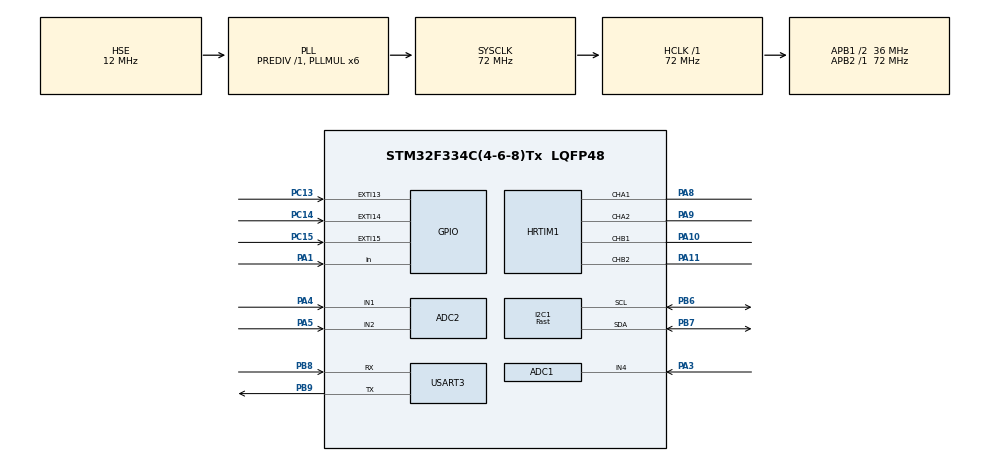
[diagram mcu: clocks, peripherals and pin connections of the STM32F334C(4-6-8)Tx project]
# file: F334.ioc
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ADC1.Channel-2\#ChannelRegularConversion=ADC_CHANNEL_TEMPSENSOR
ADC1.EnableRegularConversion=ENABLE
ADC1.ExternalTrigConv=ADC_SOFTWARE_START
ADC1.ExternalTrigConvEdge=ADC_EXTERNALTRIGCONVEDGE_RISINGFALLING
ADC1.ExternalTrigInjecConv=ADC_EXTERNALTRIGINJECCONV_HRTIM_TRG4
ADC1.ExternalTrigInjecConvEdge=ADC_EXTERNALTRIGINJECCONV_EDGE_RISING
ADC1.InjNumberOfConversion=1
ADC1.InjectedChannel-1\#ChannelInjectedConversion=ADC_CHANNEL_4
ADC1.InjectedSamplingTime-1\#ChannelInjectedConversion=ADC_SAMPLETIME_7CYCLES_5
ADC1.NbrOfConversionFlag=1
ADC1.Offset-2\#ChannelRegularConversion=0
ADC1.OffsetNumber-2\#ChannelRegularConversion=ADC_OFFSET_NONE
ADC1.Rank-2\#ChannelRegularConversion=1
ADC1.SamplingTime-2\#ChannelRegularConversion=ADC_SAMPLETIME_4CYCLES_5
ADC1.master=1
ADC2.EnableRegularConversion=DISABLE
ADC2.ExternalTrigInjecConv=ADC_EXTERNALTRIGINJECCONV_HRTIM_TRG2
ADC2.ExternalTrigInjecConvEdge=ADC_EXTERNALTRIGINJECCONV_EDGE_RISING
ADC2.InjNumberOfConversion=2
ADC2.InjectedChannel-6\#ChannelInjectedConversion=ADC_CHANNEL_2
ADC2.InjectedRank-6\#ChannelInjectedConversion=2
ADC2.InjectedSamplingTime-5\#ChannelInjectedConversion=ADC_SAMPLETIME_7CYCLES_5
ADC2.InjectedSamplingTime-6\#ChannelInjectedConversion=ADC_SAMPLETIME_7CYCLES_5
ADC2.SubFamily=STM32F334x8
HRTIM1.ADCTrigger2_Source1=HRTIM_ADCTRIGGEREVENT24_TIMERA_CMP2
HRTIM1.ADCTrigger4_Source1=HRTIM_ADCTRIGGEREVENT24_TIMERA_CMP4
HRTIM1.ADCTrigger_Id2=HRTIM_ADCTRIGGER_2
HRTIM1.ADCTrigger_Id4=HRTIM_ADCTRIGGER_4
HRTIM1.CompareUnit1-Output_TA1TA2=HRTIM_COMPAREUNIT_1
HRTIM1.CompareUnit1-Output_TB1TB2=HRTIM_COMPAREUNIT_1
HRTIM1.CompareUnit2-Output_TA1TA2=HRTIM_COMPAREUNIT_2
HRTIM1.CompareUnit2-Output_TB1TB2=HRTIM_COMPAREUNIT_2
HRTIM1.CompareUnit4-Output_TA1TA2=HRTIM_COMPAREUNIT_4
HRTIM1.CompareValue1-Output_TA1TA2=10000
HRTIM1.CompareValue1-Output_TB1TB2=30000
HRTIM1.CompareValue2-Output_TA1TA2=20000
HRTIM1.CompareValue2-Output_TB1TB2=15000
HRTIM1.CompareValue4-Output_TA1TA2=20000
HRTIM1.DeadTimeInsertion-Output_TA1TA2=HRTIM_TIMDEADTIMEINSERTION_ENABLED
HRTIM1.Deadtimeconfig-Output_TB1TB2=HRTIM_TIMERINDEX_TIMER_B
HRTIM1.FallingValue-Output_TA1TA2=35
HRTIM1.FallingValue-Output_TB1TB2=100
HRTIM1.InterruptRequests1-Output_TA1TA2=HRTIM_TIM_IT_REP
HRTIM1.InterruptRequests1_Master=HRTIM_MASTER_IT_MREP
HRTIM1.NumberADCTriggerSource2=1
HRTIM1.NumberADCTriggerSource4=1
HRTIM1.NumberInterruptRequests-Output_TA1TA2=1
HRTIM1.NumberInterruptRequests_Master=0
HRTIM1.NumberResetSource1-Output_TA1TA2=1
HRTIM1.NumberResetSource1-Output_TB1TB2=1
HRTIM1.NumberResetTrigger-Output_TA1TA2=1
HRTIM1.NumberSetSource1-Output_TA1TA2=1
HRTIM1.NumberSetSource1-Output_TB1TB2=1
HRTIM1.ORingUpdateSource_ADCTrigger2=HRTIM_ADCTRIGGERUPDATE_TIMER_A
HRTIM1.ORingUpdateSource_ADCTrigger4=HRTIM_ADCTRIGGERUPDATE_TIMER_A
HRTIM1.Periode_MASTER=46000
HRTIM1.Periode_TA=46000
HRTIM1.Periode_TB=46000
HRTIM1.Polarity2-Output_TA1TA2=HRTIM_OUTPUTPOLARITY_HIGH
HRTIM1.PreloadEnable-MasterTimer=HRTIM_PRELOAD_DISABLED
HRTIM1.PrescalerRatio_MASTER=HRTIM_PRESCALERRATIO_MUL16
HRTIM1.PrescalerRatio_TA=HRTIM_PRESCALERRATIO_MUL16
HRTIM1.PrescalerRatio_TB=HRTIM_PRESCALERRATIO_MUL16
HRTIM1.RepetitionCounter-Output_TA1TA2=0
HRTIM1.ResetOutput1_Source1-Output_TA1TA2=HRTIM_OUTPUTRESET_TIMCMP1
HRTIM1.ResetOutput1_Source1-Output_TB1TB2=HRTIM_OUTPUTRESET_TIMCMP1
HRTIM1.ResetTrigger1-Output_TA1TA2=HRTIM_TIMRESETTRIGGER_MASTER_PER
HRTIM1.RisingValue-Output_TA1TA2=25
HRTIM1.RisingValue-Output_TB1TB2=100
HRTIM1.SetOutput1_Source1-Output_TA1TA2=HRTIM_OUTPUTSET_TIMPER
HRTIM1.SetOutput1_Source1-Output_TB1TB2=HRTIM_OUTPUTSET_TIMPER
HRTIM1.Timeout=100
I2C1.I2C_Fall_Time=10
I2C1.I2C_Rise_Time=10
I2C1.I2C_Speed_Mode=I2C_Fast
I2C1.Timing=0x0000020B
Mcu.Family=STM32F3
Mcu.Name=STM32F334C(4-6-8)Tx
Mcu.Package=LQFP48
NVIC.ADC1_2_IRQn=true\:1\:0\:true
NVIC.EXTI15_10_IRQn=true\:2\:0\:true
NVIC.HRTIM1_TIMA_IRQn=true\:0\:0\:false
NVIC.PriorityGroup=NVIC_PRIORITYGROUP_4
NVIC.USART3_IRQn=true\:0\:0\:false
PA1.Signal=GPIO_Input
PA10.Mode=Output_TB1TB2
PA10.Signal=HRTIM1_CHB1
PA11.Mode=Output_TB1TB2
PA11.Signal=HRTIM1_CHB2
PA13.Mode=Serial-Wire
PA13.Signal=SYS_JTMS-SWDIO
PA14.Mode=Serial-Wire
PA14.Signal=SYS_JTCK-SWCLK
PA3.Mode=IN4-Single-Ended
PA3.Signal=ADC1_IN4
PA4.Mode=IN1-Single-Ended
PA4.Signal=ADC2_IN1
PA5.Mode=IN2-Single-Ended
PA5.Signal=ADC2_IN2
PA8.Mode=Output_TA1TA2
PA8.Signal=HRTIM1_CHA1
PA9.Mode=Output_TA1TA2
PA9.Signal=HRTIM1_CHA2
PB6.Mode=I2C
PB6.Signal=I2C1_SCL
PB7.Mode=I2C
PB7.Signal=I2C1_SDA
PB8.Mode=Asynchronous
PB8.Signal=USART3_RX
PB9.Mode=Asynchronous
PB9.Signal=USART3_TX
PC13.GPIO_ModeDefaultEXTI=GPIO_MODE_IT_FALLING
PC13.GPIO_PuPd=GPIO_PULLUP
PC13.Signal=GPXTI13
PC14\ /\ OSC32_IN.GPIO_ModeDefaultEXTI=GPIO_MODE_IT_FALLING
PC14\ /\ OSC32_IN.GPIO_PuPd=GPIO_PULLUP
PC14\ /\ OSC32_IN.Signal=GPXTI14
PC15\ /\ OSC32_OUT.GPIO_ModeDefaultEXTI=GPIO_MODE_IT_FALLING
PC15\ /\ OSC32_OUT.GPIO_PuPd=GPIO_PULLUP
PC15\ /\ OSC32_OUT.Signal=GPXTI15
PF0\ /\ OSC_IN.Mode=HSE-External-Oscillator
PF0\ /\ OSC_IN.Signal=RCC_OSC_IN
PF1\ /\ OSC_OUT.Mode=HSE-External-Oscillator
PF1\ /\ OSC_OUT.Signal=RCC_OSC_OUT
ProjectManager.TargetToolchain=MDK-ARM V5
RCC.AHBFreq_Value=72000000
RCC.APB1CLKDivider=RCC_HCLK_DIV2
RCC.APB1Freq_Value=36000000
RCC.APB1TimFreq_Value=72000000
RCC.APB2Freq_Value=72000000
RCC.APB2TimFreq_Value=72000000
RCC.CortexFreq_Value=72000000
RCC.HCLKFreq_Value=72000000
RCC.HRTIMSelection=RCC_HRTIM1CLK_PLLCLK
RCC.HSE_VALUE=12000000
RCC.HSI_VALUE=8000000
RCC.LSE_VALUE=32768
RCC.PLLMUL=RCC_PLL_MUL6
RCC.PLLSourceVirtual=RCC_PLLSOURCE_HSE
RCC.SYSCLKFreq_VALUE=72000000
RCC.SYSCLKSourceVirtual=RCC_SYSCLKSOURCE_PLLCLK
USART3.WordLength=UART_WORDLENGTH_8B
VP_ADC1_TempSens_Input.Mode=IN-TempSens
VP_HRTIM1_VS_hrtimMasterTimerNoOutput.Mode=MasterTimer
board=F334

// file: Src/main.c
/**
  ******************************************************************************
  * File Name          : main.c
  * Description        : Main program body
  ******************************************************************************
  *
  * COPYRIGHT(c) 2015 STMicroelectronics
  *
  * Redistribution and use in source and binary forms, with or without modification,
  * are permitted provided that the following conditions are met:
  *   1. Redistributions of source code must retain the above copyright notice,
  *      this list of conditions and the following disclaimer.
  *   2. Redistributions in binary form must reproduce the above copyright notice,
  *      this list of conditions and the following disclaimer in the documentation
  *      and/or other materials provided with the distribution.
  *   3. Neither the name of STMicroelectronics nor the names of its contributors
  *      may be used to endorse or promote products derived from this software
  *      without specific prior written permission.
  *
  * THIS SOFTWARE IS PROVIDED BY THE COPYRIGHT HOLDERS AND CONTRIBUTORS "AS IS"
  * AND ANY EXPRESS OR IMPLIED WARRANTIES, INCLUDING, BUT NOT LIMITED TO, THE
  * IMPLIED WARRANTIES OF MERCHANTABILITY AND FITNESS FOR A PARTICULAR PURPOSE ARE
  * DISCLAIMED. IN NO EVENT SHALL THE COPYRIGHT HOLDER OR CONTRIBUTORS BE LIABLE
  * FOR ANY DIRECT, INDIRECT, INCIDENTAL, SPECIAL, EXEMPLARY, OR CONSEQUENTIAL
  * DAMAGES (INCLUDING, BUT NOT LIMITED TO, PROCUREMENT OF SUBSTITUTE GOODS OR
  * SERVICES; LOSS OF USE, DATA, OR PROFITS; OR BUSINESS INTERRUPTION) HOWEVER
  * CAUSED AND ON ANY THEORY OF LIABILITY, WHETHER IN CONTRACT, STRICT LIABILITY,
  * OR TORT (INCLUDING NEGLIGENCE OR OTHERWISE) ARISING IN ANY WAY OUT OF THE USE
  * OF THIS SOFTWARE, EVEN IF ADVISED OF THE POSSIBILITY OF SUCH DAMAGE.
  *
  ******************************************************************************
  */
#include "stm32f3xx_hal.h"

/* USER CODE BEGIN Includes */
#include "oled.h"
#include "arm_math.h"
/* USER CODE END Includes */

ADC_HandleTypeDef hadc1;
ADC_HandleTypeDef hadc2;

HRTIM_HandleTypeDef hhrtim1;

I2C_HandleTypeDef hi2c1;

UART_HandleTypeDef huart3;

/* USER CODE BEGIN PV */
/* Private variables ---------------------------------------------------------*/

/* USER CODE END PV */

void SystemClock_Config(void);
static void MX_GPIO_Init(void);
static void MX_ADC1_Init(void);
static void MX_ADC2_Init(void);
static void MX_HRTIM1_Init(void);
static void MX_I2C1_Init(void);
static void MX_USART3_UART_Init(void);

/* USER CODE BEGIN PFP */
/* Private function prototypes -----------------------------------------------*/
//addr:98d3:31:205353
//98d3:31:20534e

#define BUCK_PWM_PERIOD ((uint16_t) 45600) /* 120kHz 63500*/
#define SAT_LIMIT ((int32_t)(BUCK_PWM_PERIOD * 50)/100) // PI Integral term saturation value
#define MIN_DUTY_A ((int32_t)(BUCK_PWM_PERIOD * 50)/100) // % MinDuty for Buck
#define MAX_DUTY_A ((int32_t)(BUCK_PWM_PERIOD * 100)/100) // % MaxDuty for Buck

#define MI 0
#define MV 1
#define Stop 2
#define MI1 3
//#define Izero 3101
//#define Vset 2318
 void Reset_PI(void);

 int32_t Kp;
 int32_t Ki;
 int32_t Kp1;
 int32_t Ki1;
//static int32_t Int_term_Buck,Int_term_BuckB;
static int32_t Int_term_I,Int_term_V;
extern int32_t VoutT,VFeed,IFeed,modepdis;
extern uint32_t V,V1,I,Vrms,Irms,IoutA,IoutB,I1,Iset,Iref,Izero,Vset,Vset1,I1A,Im1A,Im2A;
extern uint32_t CTMin;
extern uint32_t CTMax;
extern int temp1;
float VSENSE,Temp;
unsigned int cont=0;
unsigned int f=50;
float D=0,Ctemp=0,IC=0,Iavr=0,Vavr=0,Vavr1=0,Icharge=2000,power=0;//Icharge=(3613-3101)*50/2000;
extern  uint8_t Run;
extern unsigned int CurrentDutyA;
extern unsigned char pptr[],ptr0[],ptr[],ptr1[],ptr2[],ptrs[],fptr[],dptr[],modep[],mode;
unsigned char Iavrp[5];
unsigned char pptr[5]={0,0,0,0,'\0'};
unsigned char pcptr[5]={0,0,'.',0,'\0'};
unsigned char ptrk[6]={0,0,0,0,0,'\0'};
unsigned char powerptr[5]={0,0,0,0,'\0'};
extern uint8_t uartr,send;
extern uint32_t keynum;
extern float PC;
/* USER CODE END PFP */

int main(void)
{

  /* MCU Configuration----------------------------------------------------------*/

  /* Reset of all peripherals, Initializes the Flash interface and the Systick. */
  HAL_Init();

  /* Configure the system clock */
  SystemClock_Config();

  /* Initialize all configured peripherals */
  MX_GPIO_Init();
  MX_ADC1_Init();
  MX_ADC2_Init();
  MX_HRTIM1_Init();
  MX_I2C1_Init();
  MX_USART3_UART_Init();

  /* USER CODE BEGIN 2 */
	for(unsigned int i=0;i<2000;i++)
	{
		for(unsigned int j=0;j<800;j++);
	}
	OLED_Init(); 										//OLED初始化
	OLED_Fill(0x00);								//OLED清屏
//	HAL_HRTIM_WaveformOutputStart(&hhrtim1,HRTIM_OUTPUT_TA1 |HRTIM_OUTPUT_TA2);
//	HAL_HRTIM_WaveformCounterStart_IT(&hhrtim1, HRTIM_TIMERID_TIMER_A | HRTIM_TIMERID_MASTER);
	HAL_HRTIM_WaveformCounterStart_IT(&hhrtim1, HRTIM_TIMERID_TIMER_A | HRTIM_TIMERID_TIMER_B | HRTIM_TIMERID_MASTER);//启动定时
	HAL_HRTIM_WaveformOutputStart(&hhrtim1, HRTIM_OUTPUT_TB1 |HRTIM_OUTPUT_TB2 |HRTIM_OUTPUT_TA1 |HRTIM_OUTPUT_TA2);//启动PWM输出
    //HAL_HRTIM_WaveformCounterStart(&hhrtim1, HRTIM_TIMERID_TIMER_B);
	//HAL_GPIO_WritePin(GPIOB,GPIO_PIN_15, GPIO_PIN_RESET);

	OLED_P8x16Str(0,2,"T");
	OLED_P6x8Str(55,3,"C");
	OLED_P6x8Str(57,1,"mAh");
	OLED_P8x16Str(0,4,"U");
	OLED_P8x16Str(120,4,"V");
	OLED_P6x8Str(110,5,"P");
	OLED_P6x8Str(55,5,"B");
	OLED_P8x16Str(0,6,"I");
	OLED_P8x16Str(120,6,"A");
	OLED_P6x8Str(55,7,"S");
	OLED_P6x8Str(110,7,"R");
	Reset_PI();//PI初始化
	HAL_ADCEx_Calibration_Start(&hadc1,ADC_SINGLE_ENDED);//ADC1自校正
	HAL_ADCEx_Calibration_Start(&hadc2,ADC_SINGLE_ENDED);//ADC2自校正
	HAL_ADCEx_InjectedStart_IT(&hadc1);//启动ADC1
	HAL_ADCEx_InjectedStart_IT(&hadc2);//启动ADC2
	HAL_UART_Receive_IT(&huart3,&uartr,1);
  /* USER CODE END 2 */

  /* Infinite loop */
  /* USER CODE BEGIN WHILE */
  while (1)
  {
//	unsigned int i,j=30;
//	for(i=0;i<1000;i++)
//	{
//		for(j=0;j<800;j++);
//	}
		//HAL_UART_Transmit(&huart2,&uartr,1,100);
		HAL_ADC_Start(&hadc1);
		VSENSE=HAL_ADC_GetValue(&hadc1);
		Temp=(((1400 - VSENSE*3300/4096) / 46)*100 + 250);

		ptrk[0]=keynum/10000;
		temp1=keynum-(ptrk[0]*10000);
		ptrk[1]=temp1/1000;
		temp1=temp1-ptrk[1]*1000;
		ptrk[2]=temp1/100;
		temp1=temp1-ptrk[2]*100;
		ptrk[3]=temp1/10;
		temp1=temp1-ptrk[3]*10;
		ptrk[4]=temp1;
		ptrk[0]=ptrk[0]+48;
		ptrk[1]=ptrk[1]+48;
		ptrk[2]=ptrk[2]+48;
		ptrk[3]=ptrk[3]+48;
		ptrk[4]=ptrk[4]+48;
		OLED_P8x16Str(80,0,ptrk);

		if(Iavr<Izero){modep[0]='D';modep[1]='i';modep[2]='s';}//modep[3]='c';modep[4]='h';
			//modep[5]='a';modep[6]='r';modep[7]='g';modep[8]='e';}
		else {modep[0]='C';modep[1]='h';modep[2]='a';}//modep[6]='i';modep[7]='n';modep[8]='g';modep[3]='r';modep[4]='g';modep[5]='e';}
		if(mode==Stop){modep[0]='S';modep[1]='t';modep[2]='o';}//modep[4]='d';
			//modep[5]='b';modep[6]='y';modep[7]=' ';modep[8]=' ';}
		OLED_P8x16Str(0,0,modep);

		if(Iavr>2000)IC=(((float)Iavr)-I1A)*1000/(Iref-I1A)+1000;
		else IC=(((float)Iavr)-Im2A)*800/(Im1A-Im2A)-2300;

		if(IC>9999)IC=0;
		dispI(70,6,fabs(IC),ptr0);

		Ctemp=Vavr*3000/Vset1;
		disp5(15,4,Ctemp,ptr1,"Vavr\n");
		if(mode==MV||mode==MI1)power=(Ctemp+IC/16-1500)/600*100;
		else if(mode==MI)power=(Ctemp-IC/16-1500)/600*100;
		if(power>100)power=100;
		if(power<=0)power=0;
		//disp4(70,2,power,pptr);
		{
//		powerptr[0]=power/100;
//			if(powerptr[0]==0)powerptr[0]=' ';
	temp1=power;
	powerptr[1]=temp1/10;
	temp1=temp1-powerptr[1]*10;
	powerptr[2]=temp1;
	//lotemp=lotemp-ptr[2]*10;
	powerptr[3]='%';
	powerptr[0]=' ';
	powerptr[1]=powerptr[1]+48;
	powerptr[2]=powerptr[2]+48;
	//ptr[3]=ptr[3]+48;
	OLED_P8x16Str(94,2,powerptr);
	}

		Ctemp=Vavr1*3000/Vset;
		disp5(70,4,Ctemp,ptr,"Vav1\n");

			//dispI(70,6,Iavr,ptr0);
		//Ctemp=(fabs((float)(Iset)-Izero)*2000/510);
		//Ctemp=(int)((fabs((float)(Iset)-Izero)*2000/(Iref-Izero)+0.5)*10)/10;///10+0.5*10;
			//Ctemp=1.69*((float)Iset)-3501.1;
		dispI(15,6,fabs(Icharge),ptr2);

		{
		fptr[0]=f/100;
		temp1=f-(fptr[0]*100);
		fptr[1]=temp1/10;
		temp1=temp1-fptr[1]*10;
		fptr[2]=temp1;
		}

		{
//		if(mode==MV)D= (VFeed)*100/BUCK_PWM_PERIOD;
//		else if(mode==MI)D=(IFeed)*100/BUCK_PWM_PERIOD;
//		else if(mode==Stop)D=0;
		//disp4(25,2,Temp,dptr);
	dptr[0]=Temp/100;
	temp1=Temp-(dptr[0]*100);
	dptr[1]=temp1/10;
	temp1=temp1-dptr[1]*10;
	dptr[3]=temp1;
	//temp1=temp1-dptr[2]*10;
	//dptr[3]=temp1;
	dptr[0]=dptr[0]+48;
	dptr[1]=dptr[1]+48;
	//dptr[2]=dptr[2]+48;
	dptr[3]=dptr[3]+48;
	OLED_P8x16Str(20,2,dptr);
			if(Temp>550)mode=Stop;
		}
		//disp4(25,2,PC/3600,dptr);
		//OLED_P8x16Str(65,2,ptrs);

		disp4(25,0,PC/3600,pcptr);
  /* USER CODE END WHILE */

  }

}

/** System Clock Configuration
*/
void SystemClock_Config(void)
{

  RCC_OscInitTypeDef RCC_OscInitStruct;
  RCC_ClkInitTypeDef RCC_ClkInitStruct;
  RCC_PeriphCLKInitTypeDef PeriphClkInit;

  RCC_OscInitStruct.OscillatorType = RCC_OSCILLATORTYPE_HSI|RCC_OSCILLATORTYPE_HSE;
  RCC_OscInitStruct.HSEState = RCC_HSE_ON;
  RCC_OscInitStruct.HSEPredivValue = RCC_HSE_PREDIV_DIV1;
  RCC_OscInitStruct.HSIState = RCC_HSI_ON;
  RCC_OscInitStruct.HSICalibrationValue = 16;
  RCC_OscInitStruct.PLL.PLLState = RCC_PLL_ON;
  RCC_OscInitStruct.PLL.PLLSource = RCC_PLLSOURCE_HSE;
  RCC_OscInitStruct.PLL.PLLMUL = RCC_PLL_MUL6;
  HAL_RCC_OscConfig(&RCC_OscInitStruct);

  RCC_ClkInitStruct.ClockType = RCC_CLOCKTYPE_SYSCLK|RCC_CLOCKTYPE_PCLK1;
  RCC_ClkInitStruct.SYSCLKSource = RCC_SYSCLKSOURCE_PLLCLK;
  RCC_ClkInitStruct.AHBCLKDivider = RCC_SYSCLK_DIV1;
  RCC_ClkInitStruct.APB1CLKDivider = RCC_HCLK_DIV2;
  RCC_ClkInitStruct.APB2CLKDivider = RCC_HCLK_DIV1;
  HAL_RCC_ClockConfig(&RCC_ClkInitStruct, FLASH_LATENCY_2);

  PeriphClkInit.PeriphClockSelection = RCC_PERIPHCLK_HRTIM1|RCC_PERIPHCLK_USART3
                              |RCC_PERIPHCLK_I2C1|RCC_PERIPHCLK_ADC12;
  PeriphClkInit.Usart3ClockSelection = RCC_USART3CLKSOURCE_PCLK1;
  PeriphClkInit.Adc12ClockSelection = RCC_ADC12PLLCLK_DIV1;
  PeriphClkInit.I2c1ClockSelection = RCC_I2C1CLKSOURCE_HSI;
  PeriphClkInit.Hrtim1ClockSelection = RCC_HRTIM1CLK_PLLCLK;
  HAL_RCCEx_PeriphCLKConfig(&PeriphClkInit);

  HAL_SYSTICK_Config(HAL_RCC_GetHCLKFreq()/1000);

  HAL_SYSTICK_CLKSourceConfig(SYSTICK_CLKSOURCE_HCLK);

}

/* ADC1 init function */
void MX_ADC1_Init(void)
{

  ADC_InjectionConfTypeDef sConfigInjected;
  ADC_ChannelConfTypeDef sConfig;

    /**Common config
    */
  hadc1.Instance = ADC1;
  hadc1.Init.ClockPrescaler = ADC_CLOCK_ASYNC;
  hadc1.Init.Resolution = ADC_RESOLUTION12b;
  hadc1.Init.ScanConvMode = ADC_SCAN_DISABLE;
  hadc1.Init.ContinuousConvMode = DISABLE;
  hadc1.Init.DiscontinuousConvMode = DISABLE;
  hadc1.Init.ExternalTrigConvEdge = ADC_EXTERNALTRIGCONVEDGE_RISINGFALLING;
  hadc1.Init.ExternalTrigConv = ADC_SOFTWARE_START;
  hadc1.Init.DataAlign = ADC_DATAALIGN_RIGHT;
  hadc1.Init.NbrOfConversion = 1;
  hadc1.Init.DMAContinuousRequests = DISABLE;
  hadc1.Init.EOCSelection = EOC_SINGLE_CONV;
  hadc1.Init.LowPowerAutoWait = DISABLE;
  hadc1.Init.Overrun = OVR_DATA_OVERWRITTEN;
  HAL_ADC_Init(&hadc1);

    /**Configure Injected Channel
    */
  sConfigInjected.InjectedChannel = ADC_CHANNEL_4;
  sConfigInjected.InjectedRank = 1;
  sConfigInjected.InjectedSingleDiff = ADC_SINGLE_ENDED;
  sConfigInjected.InjectedNbrOfConversion = 1;
  sConfigInjected.InjectedSamplingTime = ADC_SAMPLETIME_7CYCLES_5;
  sConfigInjected.ExternalTrigInjecConvEdge = ADC_EXTERNALTRIGINJECCONV_EDGE_RISING;
  sConfigInjected.ExternalTrigInjecConv = ADC_EXTERNALTRIGINJECCONV_HRTIM_TRG4;
  sConfigInjected.AutoInjectedConv = DISABLE;
  sConfigInjected.InjectedDiscontinuousConvMode = DISABLE;
  sConfigInjected.QueueInjectedContext = DISABLE;
  sConfigInjected.InjectedOffset = 0;
  sConfigInjected.InjectedOffsetNumber = ADC_OFFSET_NONE;
  HAL_ADCEx_InjectedConfigChannel(&hadc1, &sConfigInjected);

    /**Configure Regular Channel
    */
  sConfig.Channel = ADC_CHANNEL_TEMPSENSOR;
  sConfig.Rank = 1;
  sConfig.SingleDiff = ADC_SINGLE_ENDED;
  sConfig.SamplingTime = ADC_SAMPLETIME_601CYCLES_5;
  sConfig.OffsetNumber = ADC_OFFSET_NONE;
  sConfig.Offset = 0;
  HAL_ADC_ConfigChannel(&hadc1, &sConfig);

}

/* ADC2 init function */
void MX_ADC2_Init(void)
{

  ADC_InjectionConfTypeDef sConfigInjected;

    /**Common config
    */
  hadc2.Instance = ADC2;
  hadc2.Init.ClockPrescaler = ADC_CLOCK_ASYNC;
  hadc2.Init.Resolution = ADC_RESOLUTION12b;
  hadc2.Init.ScanConvMode = ADC_SCAN_ENABLE;
  hadc2.Init.ContinuousConvMode = DISABLE;
  hadc2.Init.DiscontinuousConvMode = DISABLE;
  hadc2.Init.ExternalTrigConvEdge = ADC_EXTERNALTRIGCONVEDGE_NONE;
  hadc2.Init.DataAlign = ADC_DATAALIGN_RIGHT;
  hadc2.Init.NbrOfConversion = 1;
  hadc2.Init.DMAContinuousRequests = DISABLE;
  hadc2.Init.EOCSelection = EOC_SINGLE_CONV;
  hadc2.Init.LowPowerAutoWait = DISABLE;
  hadc2.Init.Overrun = OVR_DATA_OVERWRITTEN;
  HAL_ADC_Init(&hadc2);

    /**Configure Injected Channel
    */
  sConfigInjected.InjectedChannel = ADC_CHANNEL_1;
  sConfigInjected.InjectedRank = 1;
  sConfigInjected.InjectedSingleDiff = ADC_SINGLE_ENDED;
  sConfigInjected.InjectedNbrOfConversion = 2;
  sConfigInjected.InjectedSamplingTime = ADC_SAMPLETIME_7CYCLES_5;
  sConfigInjected.ExternalTrigInjecConvEdge = ADC_EXTERNALTRIGINJECCONV_EDGE_RISING;
  sConfigInjected.ExternalTrigInjecConv = ADC_EXTERNALTRIGINJECCONV_HRTIM_TRG2;
  sConfigInjected.AutoInjectedConv = DISABLE;
  sConfigInjected.InjectedDiscontinuousConvMode = DISABLE;
  sConfigInjected.QueueInjectedContext = DISABLE;
  sConfigInjected.InjectedOffset = 0;
  sConfigInjected.InjectedOffsetNumber = ADC_OFFSET_NONE;
  HAL_ADCEx_InjectedConfigChannel(&hadc2, &sConfigInjected);

    /**Configure Injected Channel
    */
  sConfigInjected.InjectedChannel = ADC_CHANNEL_2;
  sConfigInjected.InjectedRank = 2;
  HAL_ADCEx_InjectedConfigChannel(&hadc2, &sConfigInjected);

}

/* HRTIM1 init function */
void MX_HRTIM1_Init(void)
{

  HRTIM_ADCTriggerCfgTypeDef pADCTriggerCfg;
  HRTIM_TimeBaseCfgTypeDef pTimeBaseCfg;
  HRTIM_TimerCfgTypeDef pTimerCfg;
  HRTIM_CompareCfgTypeDef pCompareCfg;
  HRTIM_TimerEventFilteringCfgTypeDef pTimerEventFilteringCfg;
  HRTIM_OutputCfgTypeDef pOutputCfg;
  HRTIM_DeadTimeCfgTypeDef pDeadTimeCfg;

  hhrtim1.Instance = HRTIM1;
  hhrtim1.Init.HRTIMInterruptResquests = HRTIM_IT_NONE;
  hhrtim1.Init.SyncOptions = HRTIM_SYNCOPTION_NONE;
  HAL_HRTIM_Init(&hhrtim1);

  HAL_HRTIM_DLLCalibrationStart(&hhrtim1, HRTIM_CALIBRATIONRATE_14);

  HAL_HRTIM_PollForDLLCalibration(&hhrtim1, 100);

  pADCTriggerCfg.UpdateSource = HRTIM_ADCTRIGGERUPDATE_TIMER_A;
  pADCTriggerCfg.Trigger = HRTIM_ADCTRIGGEREVENT24_TIMERA_CMP2;
  HAL_HRTIM_ADCTriggerConfig(&hhrtim1, HRTIM_ADCTRIGGER_2, &pADCTriggerCfg);

  pADCTriggerCfg.Trigger = HRTIM_ADCTRIGGEREVENT24_TIMERA_CMP4;
  HAL_HRTIM_ADCTriggerConfig(&hhrtim1, HRTIM_ADCTRIGGER_4, &pADCTriggerCfg);

  pTimeBaseCfg.Period = 46000;
  pTimeBaseCfg.RepetitionCounter = 0x00;
  pTimeBaseCfg.PrescalerRatio = HRTIM_PRESCALERRATIO_MUL16;
  pTimeBaseCfg.Mode = HRTIM_MODE_CONTINUOUS;
  HAL_HRTIM_TimeBaseConfig(&hhrtim1, HRTIM_TIMERINDEX_MASTER, &pTimeBaseCfg);

  pTimerCfg.InterruptRequests = HRTIM_MASTER_IT_NONE;
  pTimerCfg.DMARequests = HRTIM_MASTER_DMA_NONE;
  pTimerCfg.DMASrcAddress = 0x0;
  pTimerCfg.DMADstAddress = 0x0;
  pTimerCfg.DMASize = 0x1;
  pTimerCfg.HalfModeEnable = HRTIM_HALFMODE_DISABLED;
  pTimerCfg.StartOnSync = HRTIM_SYNCSTART_DISABLED;
  pTimerCfg.ResetOnSync = HRTIM_SYNCRESET_DISABLED;
  pTimerCfg.DACSynchro = HRTIM_DACSYNC_NONE;
  pTimerCfg.PreloadEnable = HRTIM_PRELOAD_DISABLED;
  pTimerCfg.UpdateGating = HRTIM_UPDATEGATING_INDEPENDENT;
  pTimerCfg.BurstMode = HRTIM_TIMERBURSTMODE_MAINTAINCLOCK;
  pTimerCfg.RepetitionUpdate = HRTIM_UPDATEONREPETITION_DISABLED;
  HAL_HRTIM_WaveformTimerConfig(&hhrtim1, HRTIM_TIMERINDEX_MASTER, &pTimerCfg);

  pCompareCfg.CompareValue = 10000;
  HAL_HRTIM_WaveformCompareConfig(&hhrtim1, HRTIM_TIMERINDEX_TIMER_A, HRTIM_COMPAREUNIT_1, &pCompareCfg);

  pCompareCfg.CompareValue = 30000;
  HAL_HRTIM_WaveformCompareConfig(&hhrtim1, HRTIM_TIMERINDEX_TIMER_B, HRTIM_COMPAREUNIT_1, &pCompareCfg);

  pTimeBaseCfg.RepetitionCounter = 0;
  HAL_HRTIM_TimeBaseConfig(&hhrtim1, HRTIM_TIMERINDEX_TIMER_A, &pTimeBaseCfg);

  pTimerCfg.InterruptRequests = HRTIM_TIM_IT_REP;
  pTimerCfg.DMARequests = HRTIM_TIM_DMA_NONE;
  pTimerCfg.DMASrcAddress = 0x0;
  pTimerCfg.DMADstAddress = 0x0;
  pTimerCfg.DMASize = 0x1;
  pTimerCfg.PushPull = HRTIM_TIMPUSHPULLMODE_DISABLED;
  pTimerCfg.FaultEnable = HRTIM_TIMFAULTENABLE_NONE;
  pTimerCfg.FaultLock = HRTIM_TIMFAULTLOCK_READWRITE;
  pTimerCfg.DeadTimeInsertion = HRTIM_TIMDEADTIMEINSERTION_ENABLED;
  pTimerCfg.DelayedProtectionMode = HRTIM_TIMDELAYEDPROTECTION_DISABLED;
  pTimerCfg.UpdateTrigger = HRTIM_TIMUPDATETRIGGER_NONE;
  pTimerCfg.ResetTrigger = HRTIM_TIMRESETTRIGGER_MASTER_PER;
  pTimerCfg.ResetUpdate = HRTIM_TIMUPDATEONRESET_DISABLED;
  HAL_HRTIM_WaveformTimerConfig(&hhrtim1, HRTIM_TIMERINDEX_TIMER_A, &pTimerCfg);

  pTimerCfg.InterruptRequests = HRTIM_TIM_IT_NONE;
  pTimerCfg.DMASrcAddress = 0x0;
  pTimerCfg.DMADstAddress = 0x0;
  pTimerCfg.DMASize = 0x1;
  pTimerCfg.DeadTimeInsertion = HRTIM_TIMDEADTIMEINSERTION_DISABLED;
  pTimerCfg.ResetTrigger = HRTIM_TIMRESETTRIGGER_NONE;
  HAL_HRTIM_WaveformTimerConfig(&hhrtim1, HRTIM_TIMERINDEX_TIMER_B, &pTimerCfg);

  pCompareCfg.CompareValue = 20000;
  pCompareCfg.AutoDelayedMode = HRTIM_AUTODELAYEDMODE_REGULAR;
  pCompareCfg.AutoDelayedTimeout = 0x0000;

  HAL_HRTIM_WaveformCompareConfig(&hhrtim1, HRTIM_TIMERINDEX_TIMER_A, HRTIM_COMPAREUNIT_2, &pCompareCfg);

  pCompareCfg.CompareValue = 15000;
  pCompareCfg.AutoDelayedTimeout = 0x0000;

  HAL_HRTIM_WaveformCompareConfig(&hhrtim1, HRTIM_TIMERINDEX_TIMER_B, HRTIM_COMPAREUNIT_2, &pCompareCfg);

  pCompareCfg.CompareValue = 20000;
  pCompareCfg.AutoDelayedTimeout = 0x0000;

  HAL_HRTIM_WaveformCompareConfig(&hhrtim1, HRTIM_TIMERINDEX_TIMER_A, HRTIM_COMPAREUNIT_4, &pCompareCfg);

  pTimerEventFilteringCfg.Filter = HRTIM_TIMEVENTFILTER_NONE;
  pTimerEventFilteringCfg.Latch = HRTIM_TIMEVENTLATCH_DISABLED;

  HAL_HRTIM_TimerEventFilteringConfig(&hhrtim1, HRTIM_TIMERINDEX_TIMER_B, HRTIM_EVENT_NONE, &pTimerEventFilteringCfg);

  pOutputCfg.Polarity = HRTIM_OUTPUTPOLARITY_HIGH;
  pOutputCfg.SetSource = HRTIM_OUTPUTSET_TIMPER;
  pOutputCfg.ResetSource = HRTIM_OUTPUTRESET_TIMCMP1;
  pOutputCfg.IdleMode = HRTIM_OUTPUTIDLEMODE_NONE;
  pOutputCfg.IdleLevel = HRTIM_OUTPUTIDLELEVEL_INACTIVE;
  pOutputCfg.FaultLevel = HRTIM_OUTPUTFAULTLEVEL_NONE;
  pOutputCfg.ChopperModeEnable = HRTIM_OUTPUTCHOPPERMODE_DISABLED;
  pOutputCfg.BurstModeEntryDelayed = HRTIM_OUTPUTBURSTMODEENTRY_REGULAR;
  HAL_HRTIM_WaveformOutputConfig(&hhrtim1, HRTIM_TIMERINDEX_TIMER_A, HRTIM_OUTPUT_TA1, &pOutputCfg);

  HAL_HRTIM_WaveformOutputConfig(&hhrtim1, HRTIM_TIMERINDEX_TIMER_B, HRTIM_OUTPUT_TB1, &pOutputCfg);

  pOutputCfg.SetSource = HRTIM_OUTPUTSET_NONE;
  pOutputCfg.ResetSource = HRTIM_OUTPUTRESET_NONE;
  HAL_HRTIM_WaveformOutputConfig(&hhrtim1, HRTIM_TIMERINDEX_TIMER_A, HRTIM_OUTPUT_TA2, &pOutputCfg);

  HAL_HRTIM_WaveformOutputConfig(&hhrtim1, HRTIM_TIMERINDEX_TIMER_B, HRTIM_OUTPUT_TB2, &pOutputCfg);

  pDeadTimeCfg.Prescaler = HRTIM_TIMDEADTIME_PRESCALERRATIO_MUL8;
  pDeadTimeCfg.RisingValue = 25;
  pDeadTimeCfg.RisingSign = HRTIM_TIMDEADTIME_RISINGSIGN_POSITIVE;
  pDeadTimeCfg.RisingLock = HRTIM_TIMDEADTIME_RISINGLOCK_WRITE;
  pDeadTimeCfg.RisingSignLock = HRTIM_TIMDEADTIME_RISINGSIGNLOCK_WRITE;
  pDeadTimeCfg.FallingValue = 35;
  pDeadTimeCfg.FallingSign = HRTIM_TIMDEADTIME_FALLINGSIGN_POSITIVE;
  pDeadTimeCfg.FallingLock = HRTIM_TIMDEADTIME_FALLINGLOCK_WRITE;
  pDeadTimeCfg.FallingSignLock = HRTIM_TIMDEADTIME_FALLINGSIGNLOCK_WRITE;
  HAL_HRTIM_DeadTimeConfig(&hhrtim1, HRTIM_TIMERINDEX_TIMER_A, &pDeadTimeCfg);

  pDeadTimeCfg.RisingValue = 100;
  pDeadTimeCfg.FallingValue = 100;
  HAL_HRTIM_DeadTimeConfig(&hhrtim1, HRTIM_TIMERINDEX_TIMER_B, &pDeadTimeCfg);

  pTimeBaseCfg.RepetitionCounter = 0x00;
  HAL_HRTIM_TimeBaseConfig(&hhrtim1, HRTIM_TIMERINDEX_TIMER_B, &pTimeBaseCfg);

}

/* I2C1 init function */
void MX_I2C1_Init(void)
{

  hi2c1.Instance = I2C1;
  hi2c1.Init.Timing = 0x0000020B;
  hi2c1.Init.OwnAddress1 = 0;
  hi2c1.Init.AddressingMode = I2C_ADDRESSINGMODE_7BIT;
  hi2c1.Init.DualAddressMode = I2C_DUALADDRESS_DISABLED;
  hi2c1.Init.OwnAddress2 = 0;
  hi2c1.Init.OwnAddress2Masks = I2C_OA2_NOMASK;
  hi2c1.Init.GeneralCallMode = I2C_GENERALCALL_DISABLED;
  hi2c1.Init.NoStretchMode = I2C_NOSTRETCH_DISABLED;
  HAL_I2C_Init(&hi2c1);

    /**Configure Analogue filter
    */
  HAL_I2CEx_AnalogFilter_Config(&hi2c1, I2C_ANALOGFILTER_ENABLED);

}

/* USART3 init function */
void MX_USART3_UART_Init(void)
{

  huart3.Instance = USART3;
  huart3.Init.BaudRate = 38400;
  huart3.Init.WordLength = UART_WORDLENGTH_8B;
  huart3.Init.StopBits = UART_STOPBITS_1;
  huart3.Init.Parity = UART_PARITY_NONE;
  huart3.Init.Mode = UART_MODE_TX_RX;
  huart3.Init.HwFlowCtl = UART_HWCONTROL_NONE;
  huart3.Init.OverSampling = UART_OVERSAMPLING_16;
  huart3.Init.OneBitSampling = UART_ONEBIT_SAMPLING_DISABLED ;
  huart3.AdvancedInit.AdvFeatureInit = UART_ADVFEATURE_NO_INIT;
  HAL_UART_Init(&huart3);

}

/** Configure pins as
        * Analog
        * Input
        * Output
        * EVENT_OUT
        * EXTI
*/
void MX_GPIO_Init(void)
{

  GPIO_InitTypeDef GPIO_InitStruct;

  /* GPIO Ports Clock Enable */
  __GPIOC_CLK_ENABLE();
  __GPIOF_CLK_ENABLE();
  __GPIOA_CLK_ENABLE();
  __GPIOB_CLK_ENABLE();

  /*Configure GPIO pins : PC13 PC14 PC15 */
  GPIO_InitStruct.Pin = GPIO_PIN_13|GPIO_PIN_14|GPIO_PIN_15;
  GPIO_InitStruct.Mode = GPIO_MODE_IT_FALLING;
  GPIO_InitStruct.Pull = GPIO_PULLUP;
  HAL_GPIO_Init(GPIOC, &GPIO_InitStruct);

  /*Configure GPIO pin : PA1 */
  GPIO_InitStruct.Pin = GPIO_PIN_1;
  GPIO_InitStruct.Mode = GPIO_MODE_INPUT;
  GPIO_InitStruct.Pull = GPIO_NOPULL;
  HAL_GPIO_Init(GPIOA, &GPIO_InitStruct);

  /* EXTI interrupt init*/
  HAL_NVIC_SetPriority(EXTI15_10_IRQn, 2, 0);
  HAL_NVIC_EnableIRQ(EXTI15_10_IRQn);

}

/* USER CODE BEGIN 4 */
void Reset_PI(void)
{
  /* Reset integral terms for PI */
  //Int_term_Buck = 0;
	Int_term_I=0;
	Int_term_V=0;
//  Int_term_Boost = 0;
//  Int_term_Mixed = 0;
  /* Reset Counters Min and Max */
  CTMax = 0;
  CTMin = 0;
  /* Set Proportional and Integral constant terms*/
  Ki = 80;
  Kp = 100;
	Ki1=20;
	Kp1=500;
}

int32_t PI_V(void)
{
  /* Compute PI for Buck Mode */
  /* Every time the PI order sets extreme values then CTMax or CTMin are managed */
  int32_t seterr, pid_out;
  int32_t error;

  error = (int32_t ) V1 - (int32_t) Vset;
  seterr = (Kp * error);

  Int_term_V = Int_term_V + ((Ki * error));

  if (Int_term_V > SAT_LIMIT*200)
  {
    Int_term_V = SAT_LIMIT*200;
  }
  if (Int_term_V < -(SAT_LIMIT*200))
  {
    Int_term_V = -(SAT_LIMIT*200);
  }
  pid_out = seterr + Int_term_V;
  pid_out += BUCK_PWM_PERIOD *100;

  if (pid_out >= MAX_DUTY_A*200)
  {
    pid_out = MAX_DUTY_A*200;
    //CTMax++;
  }
  else
  {
    if (CTMax != 0)
    {
     // CTMax--;
    }
  }
  if (pid_out <= MIN_DUTY_A*200)
  {
    pid_out = MIN_DUTY_A*200;
    //CTMin++;
  }
  else
  {
    if (CTMin != 0)
    {
    //  CTMin--;
    }
  }
  return  pid_out/200;
}

int32_t PI_I(void)
{
  /* Compute PI for Buck Mode */
  /* Every time the PI order sets extreme values then CTMax or CTMin are managed */
  int32_t seterr, pid_out;
  int32_t error;

  error = (int32_t ) I- Iset;
  seterr = (-Kp1 * error);

  Int_term_I = Int_term_I + ((-Ki1 * error));

  if (Int_term_I > SAT_LIMIT*200)
  {
    Int_term_I = SAT_LIMIT*200;
  }
  if (Int_term_I < -(SAT_LIMIT*200))
  {
    Int_term_I = -(SAT_LIMIT*200);
  }
  pid_out = seterr + Int_term_I;
  pid_out += SAT_LIMIT*200;

  if (pid_out >= MAX_DUTY_A*200)
  {
    pid_out = MAX_DUTY_A*200;
    //CTMax++;
  }
  else
  {
    if (CTMax != 0)
    {
     // CTMax--;
    }
  }
  if (pid_out <= MIN_DUTY_A*200)
  {
    pid_out = MIN_DUTY_A*200;
    //CTMin++;
  }
  else
  {
    if (CTMin != 0)
    {
    //  CTMin--;
    }
  }
  return  pid_out / 200;
}

int32_t PI_I2(void)
{
  /* Compute PI for Buck Mode */
  /* Every time the PI order sets extreme values then CTMax or CTMin are managed */
  int32_t seterr, pid_out;
  int32_t error;

  error = (int32_t ) V1 - (int32_t) Vset*0.8;
  seterr = (Kp * error);

  Int_term_V = Int_term_V + ((Ki * error));

  if (Int_term_V > SAT_LIMIT*200)
  {
    Int_term_V = SAT_LIMIT*200;
  }
  if (Int_term_V < -(SAT_LIMIT*200))
  {
    Int_term_V = -(SAT_LIMIT*200);
  }
  pid_out = seterr + Int_term_V;
  pid_out += BUCK_PWM_PERIOD *100;

  if (pid_out >= MAX_DUTY_A*200)
  {
    pid_out = MAX_DUTY_A*200;
    //CTMax++;
  }
  else
  {
    if (CTMax != 0)
    {
     // CTMax--;
    }
  }
  if (pid_out <= MIN_DUTY_A*200)
  {
    pid_out = MIN_DUTY_A*200;
    //CTMin++;
  }
  else
  {
    if (CTMin != 0)
    {
    //  CTMin--;
    }
  }
  return  pid_out/200;
}

/* USER CODE END 4 */

/************************ (C) COPYRIGHT STMicroelectronics *****END OF FILE****/
